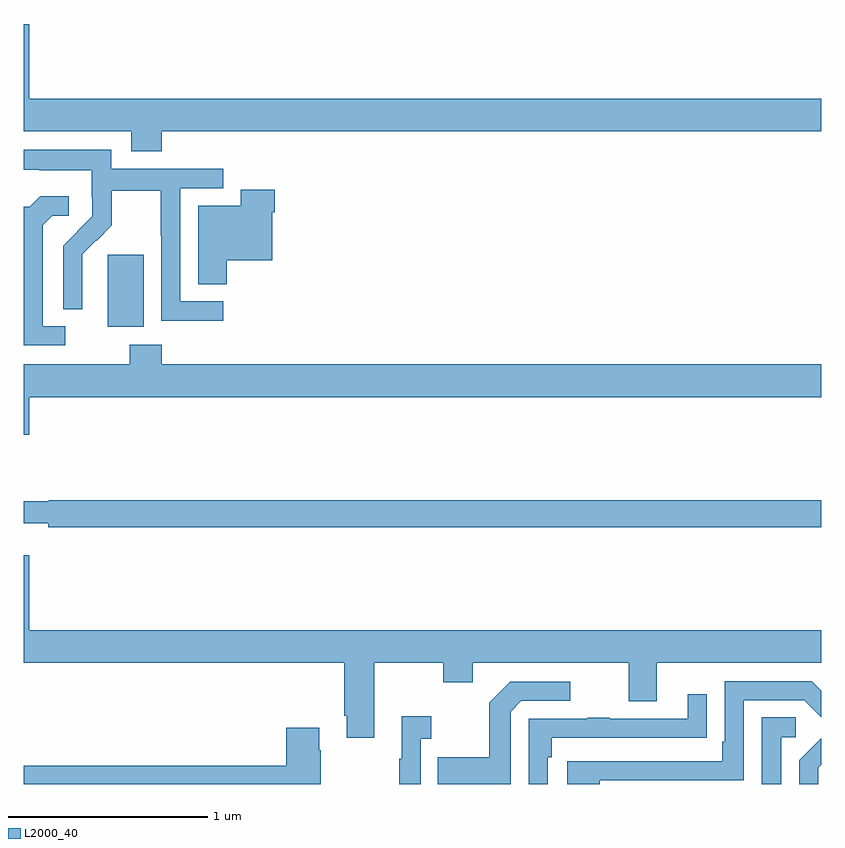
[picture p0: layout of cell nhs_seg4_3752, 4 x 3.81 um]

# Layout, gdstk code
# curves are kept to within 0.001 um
import gdstk
lib = gdstk.Library(unit=1e-6, precision=1e-09)
def R(c, l, rs):  # rectangles x0, y0, x1, y1
    for r in rs: c.add(gdstk.rectangle(r[:2], r[2:], *l))
def P(c, l, *ps):  # polygons
    for p in ps: c.add(gdstk.Polygon(p, *l))
L2000_40 = (2000, 40)

nhs_seg4_3752 = lib.new_cell('nhs_seg4_3752')
R(nhs_seg4_3752, L2000_40, [(309.422,777.194,309.601,777.555)])
P(nhs_seg4_3752, L2000_40, [(309.692,778.172),(313,778.172),(313,778.336),(309.028,778.336),(309.028,778.711),(309,778.711),(309,778.172),(309.539,778.172),(309.539,778.073),(309.692,778.073)],
  [(310,777.321),(309.786,777.321),(309.786,777.888),(310,777.888),(310,777.984),(309.438,777.984),(309.438,778.081),(309,778.081),(309,777.981),(309.079,777.981),(309.079,777.977),(309.342,777.977),(309.342,777.843),(309.344,777.843),(309.344,777.746),(309.198,777.598),(309.198,777.28),(309.294,777.28),(309.293,777.557),(309.363,777.627),(309.366,777.624),(309.443,777.701),(309.443,777.876),(309.688,777.876),(309.688,777.652),(309.69,777.652),(309.69,777.223),(310,777.223)],
  [(310.019,777.527),(310.246,777.527),(310.246,777.767),(310.259,777.767),(310.259,777.88),(310.088,777.88),(310.088,777.799),(309.875,777.799),(309.875,777.406),(310.019,777.406)],
  [(309.208,777.195),(309.097,777.195),(309.097,777.703),(309.144,777.75),(309.226,777.75),(309.226,777.847),(309.082,777.847),(309.03,777.795),(309,777.795),(309,777.099),(309.208,777.099)],
  [(309.028,776.84),(313,776.84),(313,777.004),(309.692,777.004),(309.692,777.103),(309.532,777.103),(309.532,777.004),(309,777.004),(309,776.652),(309.028,776.652)],
  [(313,776.324),(309.125,776.324),(309.125,776.317),(309,776.317),(309,776.207),(309.124,776.207),(309.124,776.188),(313,776.188)],
  [(310.759,775.508),(311.104,775.508),(311.104,775.409),(311.251,775.409),(311.251,775.508),(312.035,775.508),(312.035,775.314),(312.175,775.314),(312.175,775.508),(313,775.508),(313,775.672),(309.028,775.672),(309.028,776.047),(309,776.047),(309,775.508),(310.607,775.508),(310.607,775.243),(310.619,775.243),(310.619,775.131),(310.759,775.131)],
  [(311.888,774.918),(312.612,774.918),(312.612,775.32),(312.915,775.32),(313,775.235),(313,775.367),(312.951,775.416),(312.516,775.416),(312.516,775.111),(312.503,775.111),(312.503,775.014),(311.727,775.014),(311.727,774.9),(311.888,774.9)],
  [(311.442,775.263),(311.496,775.317),(311.74,775.317),(311.74,775.413),(311.439,775.413),(311.334,775.307),(311.334,775.035),(311.077,775.035),(311.077,774.9),(311.442,774.9)],
  [(311.628,775.034),(311.648,775.034),(311.648,775.131),(312.323,775.131),(312.323,775.132),(312.425,775.132),(312.425,775.351),(312.329,775.351),(312.329,775.227),(311.939,775.227),(311.939,775.232),(311.827,775.232),(311.827,775.227),(311.532,775.227),(311.532,774.9),(311.628,774.9)],
  [(310.992,775.127),(311.044,775.127),(311.044,775.24),(310.895,775.24),(310.895,775.027),(310.884,775.027),(310.884,774.9),(310.992,774.9)],
  [(312.798,775.134),(312.871,775.134),(312.871,775.235),(312.702,775.235),(312.702,774.9),(312.798,774.9)],
  [(310.491,775.07),(310.483,775.07),(310.483,775.183),(310.316,775.183),(310.316,774.992),(309,774.992),(309,774.9),(310.491,774.9)],
  [(312.985,774.981),(313,774.996),(313,775.13),(312.888,775.018),(312.888,774.9),(312.985,774.9)])

lib.write_gds('nhs_seg4_3752.gds')
